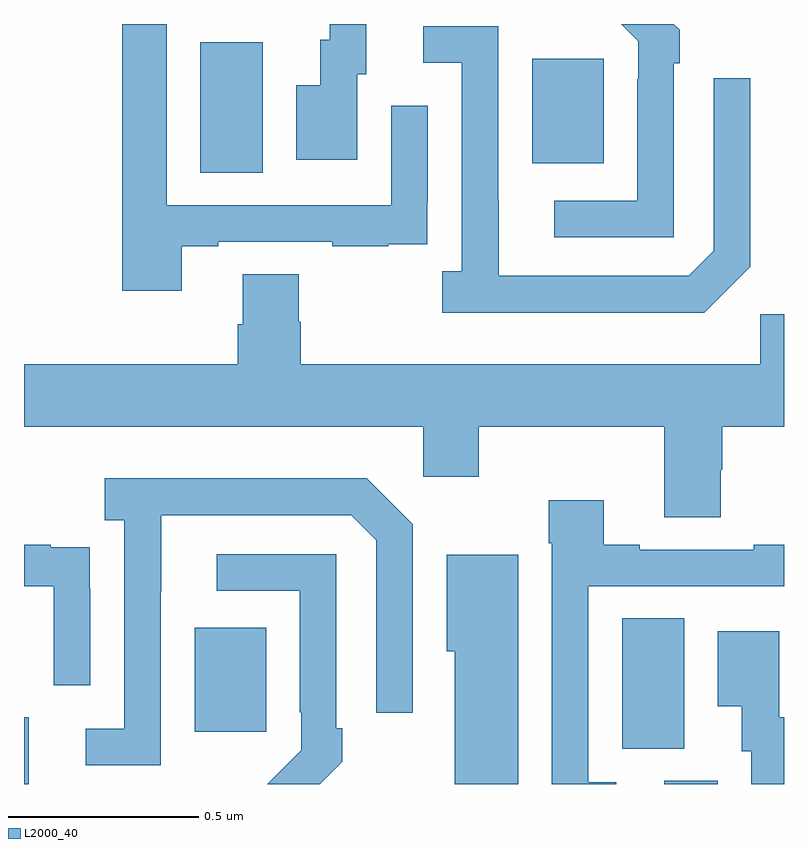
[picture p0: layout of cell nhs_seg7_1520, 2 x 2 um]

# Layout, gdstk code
import gdstk
lib = gdstk.Library(unit=1e-6, precision=1e-09)
def R(c, l, rs):  # rectangles x0, y0, x1, y1
    for r in rs: c.add(gdstk.rectangle(r[:2], r[2:], *l))
def P(c, l, *ps):  # polygons
    for p in ps: c.add(gdstk.Polygon(p, *l))
L2000_40 = (2000, 40)

nhs_seg7_1520 = lib.new_cell('nhs_seg7_1520')
R(nhs_seg7_1520, L2000_40, [(132,1009,132.013,1009.176), (133.685,1009,133.825,1009.008), (133.574,1009.093,133.738,1009.436), (132.449,1009.137,132.637,1009.411), (132.464,1010.608,132.628,1010.952), (133.337,1010.633,133.525,1010.908)])
P(nhs_seg7_1520, L2000_40, [(132.877,1010.868),(132.901,1010.868),(132.901,1011),(132.804,1011),(132.804,1010.958),(132.779,1010.958),(132.779,1010.839),(132.716,1010.839),(132.716,1010.643),(132.877,1010.643)],
  [(133.71,1010.897),(133.725,1010.897),(133.725,1010.985),(133.71,1011),(133.572,1011),(133.617,1010.955),(133.617,1010.855),(133.614,1010.855),(133.614,1010.535),(133.395,1010.535),(133.395,1010.439),(133.71,1010.439)],
  [(132.415,1010.415),(132.511,1010.415),(132.511,1010.427),(132.811,1010.427),(132.811,1010.415),(132.959,1010.415),(132.959,1010.421),(133.061,1010.421),(133.061,1010.53),(133.062,1010.53),(133.062,1010.785),(132.966,1010.785),(132.966,1010.523),(132.375,1010.523),(132.375,1011),(132.259,1011),(132.259,1010.298),(132.415,1010.298)],
  [(133.911,1010.361),(133.911,1010.857),(133.815,1010.857),(133.815,1010.403),(133.749,1010.337),(133.249,1010.337),(133.249,1010.537),(133.248,1010.537),(133.248,1010.994),(133.05,1010.994),(133.05,1010.898),(133.152,1010.898),(133.152,1010.35),(133.101,1010.35),(133.101,1010.24),(133.79,1010.24)],
  [(133.833,1009.827),(133.838,1009.827),(133.838,1009.94),(134,1009.94),(134,1010.236),(133.938,1010.236),(133.938,1010.104),(132.728,1010.104),(132.728,1010.217),(132.723,1010.217),(132.723,1010.342),(132.575,1010.342),(132.575,1010.21),(132.563,1010.21),(132.563,1010.104),(132,1010.104),(132,1009.94),(133.05,1009.94),(133.05,1009.809),(133.197,1009.809),(133.197,1009.94),(133.685,1009.94),(133.685,1009.702),(133.833,1009.702)],
  [(132.36,1009.507),(132.361,1009.507),(132.361,1009.707),(132.861,1009.707),(132.927,1009.641),(132.927,1009.188),(133.023,1009.188),(133.023,1009.683),(132.902,1009.804),(132.213,1009.804),(132.213,1009.694),(132.264,1009.694),(132.264,1009.146),(132.162,1009.146),(132.162,1009.05),(132.36,1009.05)],
  [(133.558,1009.005),(133.485,1009.005),(133.485,1009.521),(134,1009.521),(134,1009.63),(133.921,1009.63),(133.921,1009.617),(133.621,1009.617),(133.621,1009.63),(133.525,1009.63),(133.525,1009.747),(133.381,1009.747),(133.381,1009.634),(133.389,1009.634),(133.389,1009),(133.558,1009)],
  [(132.174,1009.514),(132.173,1009.514),(132.173,1009.623),(132.071,1009.623),(132.071,1009.63),(132,1009.63),(132,1009.521),(132.078,1009.521),(132.078,1009.26),(132.174,1009.26)],
  [(132.837,1009.059),(132.837,1009.147),(132.822,1009.147),(132.822,1009.605),(132.507,1009.605),(132.507,1009.509),(132.726,1009.509),(132.726,1009.189),(132.729,1009.189),(132.729,1009.089),(132.64,1009),(132.778,1009)],
  [(133.3,1009.603),(133.112,1009.603),(133.112,1009.35),(133.133,1009.35),(133.133,1009),(133.3,1009)],
  [(134,1009.176),(133.987,1009.176),(133.987,1009.402),(133.826,1009.402),(133.826,1009.205),(133.889,1009.205),(133.889,1009.086),(133.914,1009.086),(133.914,1009),(134,1009)])

lib.write_gds('nhs_seg7_1520.gds')
